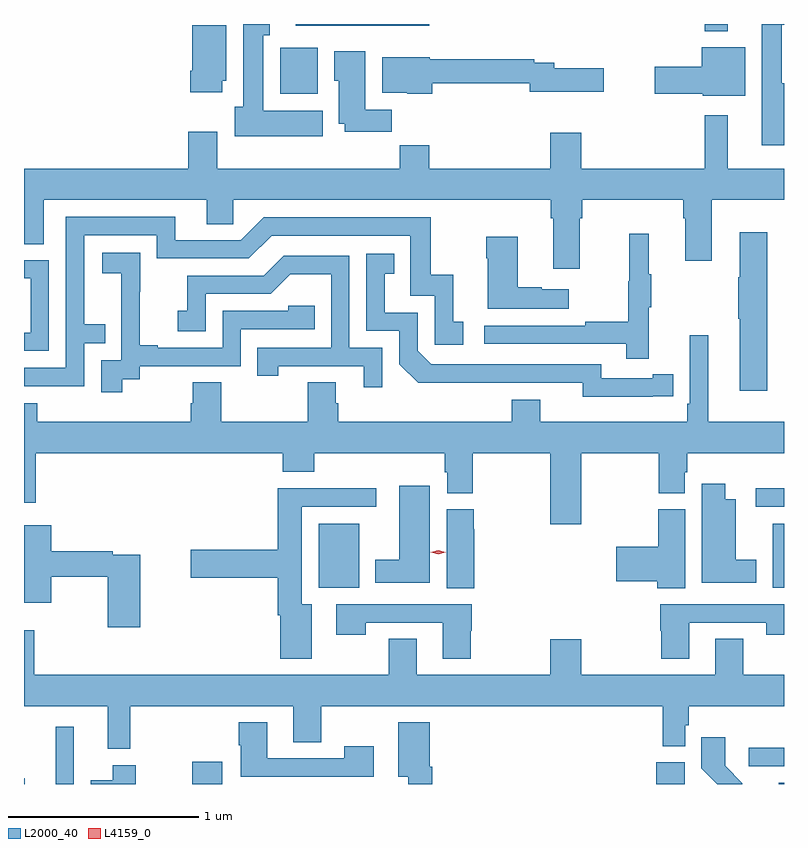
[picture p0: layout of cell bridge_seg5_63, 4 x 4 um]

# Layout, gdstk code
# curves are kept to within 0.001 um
import gdstk
lib = gdstk.Library(unit=1e-6, precision=1e-09)
def R(c, l, rs):  # rectangles x0, y0, x1, y1
    for r in rs: c.add(gdstk.rectangle(r[:2], r[2:], *l))
def P(c, l, *ps):  # polygons
    for p in ps: c.add(gdstk.Polygon(p, *l))
L2000_40 = (2000, 40)
L4159_0 = (4159, 0)

bridge_seg5_63 = lib.new_cell('bridge_seg5_63')
R(bridge_seg5_63, L2000_40, [(150.25,896.31,150.253,896.341), (150.416,896.31,150.513,896.611), (151.136,896.31,151.294,896.428), (153.578,896.31,153.727,896.425), (154.223,896.31,154.25,896.317), (154.065,896.403,154.25,896.502), (151.802,897.344,152.014,897.679), (154.19,897.344,154.25,897.679), (154.101,897.768,154.25,897.866), (151.598,899.942,151.795,900.184), (153.834,900.272,153.955,900.31), (151.679,900.302,152.384,900.31)])
P(bridge_seg5_63, L2000_40, [(151.822,899.854),(151.51,899.854),(151.51,900.251),(151.543,900.251),(151.543,900.31),(151.403,900.31),(151.403,899.874),(151.358,899.874),(151.358,899.72),(151.822,899.72)],
  [(154.25,899.997),(154.237,899.997),(154.237,900.305),(154.25,900.305),(154.25,900.31),(154.133,900.31),(154.133,899.673),(154.25,899.673)],
  [(151.294,900.012),(151.315,900.012),(151.315,900.304),(151.136,900.304),(151.136,900.064),(151.124,900.064),(151.124,899.952),(151.294,899.952)],
  [(154.045,900.187),(153.818,900.187),(153.818,900.086),(153.57,900.086),(153.57,899.944),(153.822,899.944),(153.822,899.933),(154.045,899.933)],
  [(152.186,899.86),(152.047,899.86),(152.047,900.166),(151.883,900.166),(151.883,900.012),(151.907,900.012),(151.907,899.786),(151.937,899.786),(151.937,899.742),(152.186,899.742)],
  [(152.399,899.997),(152.912,899.997),(152.912,899.954),(153.301,899.954),(153.301,900.076),(153.04,900.076),(153.04,900.105),(152.936,900.105),(152.936,900.125),(152.386,900.125),(152.386,900.136),(152.135,900.136),(152.135,899.948),(152.268,899.948),(152.268,899.942),(152.399,899.942)],
  [(153.175,899.288),(153.188,899.288),(153.188,899.384),(153.719,899.384),(153.719,899.288),(153.731,899.288),(153.731,899.064),(153.871,899.064),(153.871,899.384),(154.25,899.384),(154.25,899.548),(153.955,899.548),(153.955,899.83),(153.834,899.83),(153.834,899.548),(153.184,899.548),(153.184,899.737),(153.02,899.737),(153.02,899.548),(152.384,899.548),(152.384,899.672),(152.227,899.672),(152.227,899.548),(151.267,899.548),(151.267,899.743),(151.115,899.743),(151.115,899.548),(150.25,899.548),(150.25,899.152),(150.355,899.152),(150.355,899.384),(151.211,899.384),(151.211,899.257),(151.35,899.257),(151.35,899.384),(153.023,899.384),(153.023,899.288),(153.035,899.288),(153.035,899.022),(153.175,899.022)],
  [(150.567,898.629),(150.677,898.629),(150.677,898.73),(150.567,898.73),(150.567,899.199),(150.948,899.199),(150.948,899.076),(151.434,899.076),(151.554,899.196),(152.283,899.196),(152.283,898.881),(152.412,898.881),(152.412,898.623),(152.563,898.623),(152.563,898.743),(152.51,898.743),(152.51,898.99),(152.392,898.99),(152.392,899.292),(151.512,899.292),(151.392,899.172),(151.045,899.172),(151.045,899.295),(150.471,899.295),(150.471,898.5),(150.25,898.5),(150.25,898.404),(150.567,898.404)],
  [(154.162,899.215),(154.016,899.215),(154.016,898.976),(154.009,898.976),(154.009,898.759),(154.016,898.759),(154.016,898.38),(154.162,898.38)],
  [(153.539,898.819),(153.55,898.819),(153.55,898.993),(153.539,898.993),(153.539,899.206),(153.436,899.206),(153.436,898.956),(153.429,898.956),(153.429,898.742),(153.205,898.742),(153.205,898.722),(152.673,898.722),(152.673,898.626),(153.421,898.626),(153.421,898.548),(153.539,898.548)],
  [(153.118,898.915),(152.975,898.915),(152.975,898.925),(152.848,898.925),(152.848,899.191),(152.683,899.191),(152.683,899.078),(152.69,899.078),(152.69,898.811),(153.118,898.811)],
  [(150.766,898.441),(150.858,898.441),(150.858,898.509),(151.392,898.509),(151.392,898.704),(151.781,898.704),(151.781,898.827),(151.641,898.827),(151.641,898.8),(151.296,898.8),(151.296,898.605),(150.955,898.605),(150.955,898.618),(150.86,898.618),(150.86,898.901),(150.861,898.901),(150.861,899.107),(150.663,899.107),(150.663,898.997),(150.761,898.997),(150.761,898.769),(150.762,898.769),(150.762,898.539),(150.657,898.539),(150.657,898.371),(150.766,898.371)],
  [(153.56,898.35),(153.668,898.35),(153.668,898.466),(153.56,898.466),(153.56,898.446),(153.288,898.446),(153.288,898.518),(152.394,898.518),(152.322,898.59),(152.322,898.791),(152.149,898.791),(152.149,898.995),(152.198,898.995),(152.198,899.101),(152.052,899.101),(152.052,898.695),(152.226,898.695),(152.226,898.518),(152.324,898.421),(153.192,898.422),(153.192,898.349)],
  [(152.136,898.605),(151.962,898.605),(151.962,899.091),(151.616,899.091),(151.511,898.986),(151.108,898.986),(151.108,898.801),(151.059,898.801),(151.059,898.692),(151.206,898.692),(151.206,898.89),(151.548,898.89),(151.652,898.994),(151.866,898.994),(151.866,898.605),(151.477,898.605),(151.477,898.458),(151.588,898.458),(151.588,898.509),(152.039,898.509),(152.039,898.398),(152.136,898.398)],
  [(150.381,899.067),(150.25,899.067),(150.25,898.971),(150.285,898.971),(150.285,898.686),(150.25,898.686),(150.25,898.59),(150.381,898.59)],
  [(152.968,898.333),(152.816,898.333),(152.816,898.216),(151.904,898.216),(151.904,898.314),(151.891,898.314),(151.891,898.424),(151.744,898.424),(151.744,898.216),(151.287,898.216),(151.287,898.424),(151.139,898.424),(151.139,898.314),(151.127,898.314),(151.127,898.216),(150.32,898.216),(150.32,898.315),(150.25,898.315),(150.25,897.789),(150.311,897.789),(150.311,898.052),(151.613,898.052),(151.613,897.953),(151.778,897.953),(151.778,898.052),(152.465,898.052),(152.465,897.951),(152.477,897.951),(152.477,897.841),(152.613,897.841),(152.613,898.052),(153.02,898.052),(153.02,897.678),(153.184,897.678),(153.184,898.052),(153.592,898.052),(153.592,897.841),(153.727,897.841),(153.727,897.951),(153.74,897.951),(153.74,898.052),(154.25,898.052),(154.25,898.216),(153.85,898.216),(153.85,898.672),(153.753,898.672),(153.753,898.312),(153.74,898.312),(153.74,898.216),(152.968,898.216)],
  [(154.105,897.49),(153.997,897.49),(153.997,897.808),(153.94,897.808),(153.94,897.889),(153.818,897.889),(153.818,897.368),(154.105,897.368)],
  [(152.386,897.88),(152.225,897.88),(152.225,897.49),(152.099,897.49),(152.099,897.368),(152.386,897.368)],
  [(151.765,897.256),(151.711,897.256),(151.711,897.768),(152.104,897.768),(152.104,897.866),(151.586,897.866),(151.586,897.542),(151.128,897.542),(151.128,897.395),(151.586,897.395),(151.586,897.197),(151.598,897.197),(151.598,896.97),(151.765,896.97)],
  [(153.73,897.756),(153.589,897.756),(153.589,897.56),(153.366,897.56),(153.366,897.377),(153.584,897.377),(153.584,897.34),(153.73,897.34)],
  [(152.621,897.65),(152.616,897.65),(152.616,897.756),(152.474,897.756),(152.474,897.34),(152.621,897.34)],
  [(150.863,897.516),(150.716,897.516),(150.716,897.536),(150.394,897.536),(150.394,897.673),(150.25,897.673),(150.25,897.263),(150.394,897.263),(150.394,897.4),(150.692,897.4),(150.692,897.135),(150.863,897.135)],
  [(152.601,897.117),(152.606,897.117),(152.606,897.255),(151.893,897.255),(151.893,897.096),(152.049,897.096),(152.049,897.159),(152.453,897.159),(152.453,896.97),(152.601,896.97)],
  [(153.751,897.159),(154.156,897.159),(154.156,897.096),(154.25,897.096),(154.25,897.255),(153.599,897.255),(153.599,897.117),(153.604,897.117),(153.604,896.97),(153.751,896.97)],
  [(150.809,896.72),(151.667,896.72),(151.667,896.53),(151.815,896.53),(151.815,896.72),(153.613,896.72),(153.613,896.51),(153.729,896.51),(153.729,896.619),(153.749,896.619),(153.749,896.72),(154.25,896.72),(154.25,896.884),(154.035,896.884),(154.035,897.074),(153.887,897.074),(153.887,896.884),(153.184,896.884),(153.184,897.073),(153.02,897.073),(153.02,896.884),(152.317,896.884),(152.317,897.074),(152.17,897.074),(152.17,896.884),(150.304,896.884),(150.304,897.118),(150.25,897.118),(150.25,896.72),(150.692,896.72),(150.692,896.495),(150.809,896.495)],
  [(152.092,896.509),(151.936,896.509),(151.936,896.445),(151.531,896.445),(151.531,896.635),(151.379,896.635),(151.379,896.515),(151.391,896.515),(151.391,896.349),(152.092,896.349)],
  [(152.399,896.402),(152.386,896.402),(152.386,896.635),(152.219,896.635),(152.219,896.348),(152.273,896.348),(152.273,896.31),(152.399,896.31)],
  [(154.03,896.315),(153.94,896.405),(153.94,896.557),(153.814,896.557),(153.814,896.394),(153.898,896.31),(154.03,896.31)],
  [(150.838,896.41),(150.716,896.41),(150.716,896.329),(150.602,896.329),(150.602,896.31),(150.838,896.31)])
P(bridge_seg5_63, L4159_0, [(152.429,897.52),(152.39,897.53),(152.389,897.53),(152.39,897.53),(152.429,897.54),(152.469,897.53),(152.469,897.53),(152.469,897.53)])

lib.write_gds('bridge_seg5_63.gds')
